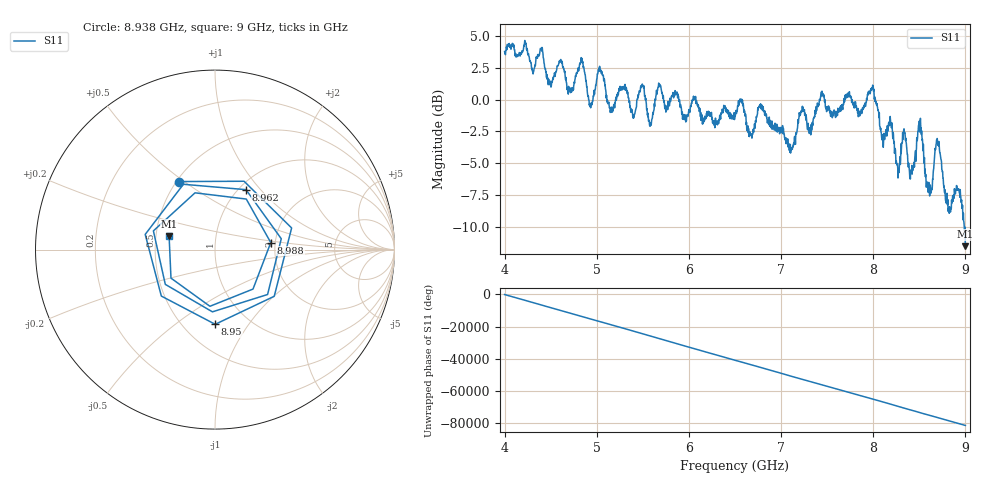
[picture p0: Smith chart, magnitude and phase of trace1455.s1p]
! Created with skrf 1.8.0 (http://scikit-rf.org).
# Hz S RI R 50.0
!freq ReS11 ImS11
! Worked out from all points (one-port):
!   1601 points, 4 GHz to 9 GHz, reference 50 ohm
!   lowest |S11| = -11.5 dB at 9 GHz (marker M1), VSWR 1.73, Z = 29.4 + j4.71 ohm
!   |S11| at or under -10 dB: 8.987303 GHz to 8.993789 GHz (6.486 MHz wide, 0.0721 % of centre); 8.994098 GHz to end of sweep
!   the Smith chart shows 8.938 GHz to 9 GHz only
!   S11 on the Smith chart (normalised r, x): 8.938 GHz: 0.51, +0.48; 8.95 GHz: 0.71, -0.71; 8.962 GHz: 1.08, +0.84; 8.988 GHz: 1.89, +0.16; 9 GHz: 0.59, +0.09
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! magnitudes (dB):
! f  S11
! 4 GHz  3.8
! 4.625 GHz  3.0
! 4.716 GHz  0.5
! 4.838 GHz  2.9
! 4.934 GHz  -0.6
! 5.031 GHz  2.6
! 5.153 GHz  -1.0
! 5.25 GHz  0.7
! 5.5 GHz  1.0
! 5.581 GHz  -2.1
! 5.672 GHz  1.3
! 5.875 GHz  0.3
! 6.5 GHz  -1.0
! 7.125 GHz  -3.7
! 7.222 GHz  -0.9
! 7.75 GHz  0.3
! 7.991 GHz  0.9
! 8.103 GHz  -2.8
! 8.375 GHz  -4.8
! 8.509 GHz  -1.8
! 8.6 GHz  -7.3
! 8.694 GHz  -3.1
! 8.812 GHz  -8.8
! 8.938 GHz  -7.4
! 8.95 GHz  -7.6
! 8.962 GHz  -8.5
! 8.988 GHz  -10.1
! 9 GHz  -11.5
